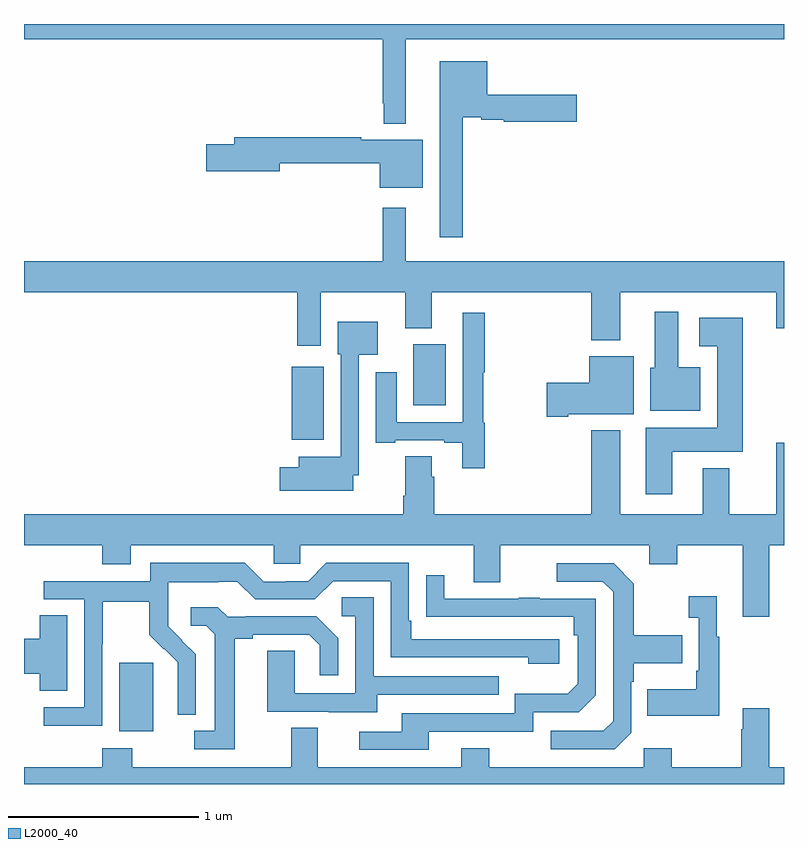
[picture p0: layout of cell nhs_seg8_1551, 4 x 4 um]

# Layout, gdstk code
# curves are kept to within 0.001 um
import gdstk
lib = gdstk.Library(unit=1e-6, precision=1e-09)
def R(c, l, rs):  # rectangles x0, y0, x1, y1
    for r in rs: c.add(gdstk.rectangle(r[:2], r[2:], *l))
def P(c, l, *ps):  # polygons
    for p in ps: c.add(gdstk.Polygon(p, *l))
L2000_40 = (2000, 40)

nhs_seg8_1551 = lib.new_cell('nhs_seg8_1551')
R(nhs_seg8_1551, L2000_40, [(209.501,1126.178,209.68,1126.539), (210.41,1127.711,210.577,1128.097), (211.049,1127.894,211.219,1128.214)])
P(nhs_seg8_1551, L2000_40, [(211.009,1129.82),(213,1129.82),(213,1129.9),(209,1129.9),(209,1129.82),(210.888,1129.82),(210.888,1129.483),(210.894,1129.483),(210.894,1129.376),(211.009,1129.376)],
  [(211.309,1129.409),(211.406,1129.409),(211.406,1129.397),(211.524,1129.397),(211.524,1129.385),(211.909,1129.385),(211.909,1129.527),(211.438,1129.527),(211.438,1129.705),(211.187,1129.705),(211.187,1128.777),(211.309,1128.777)],
  [(211.099,1129.291),(210.776,1129.291),(210.776,1129.304),(210.107,1129.304),(210.107,1129.268),(209.958,1129.268),(209.958,1129.126),(210.346,1129.126),(210.346,1129.168),(210.872,1129.168),(210.872,1129.037),(211.099,1129.037)],
  [(210.562,1128.488),(211.007,1128.488),(211.007,1128.299),(211.147,1128.299),(211.147,1128.488),(211.985,1128.488),(211.985,1128.236),(212.137,1128.236),(212.137,1128.488),(212.96,1128.488),(212.96,1128.3),(213,1128.3),(213,1128.652),(211.009,1128.652),(211.009,1128.934),(210.888,1128.934),(210.888,1128.652),(209,1128.652),(209,1128.488),(210.437,1128.488),(210.437,1128.207),(210.562,1128.207)],
  [(212.56,1128.094),(212.443,1128.094),(212.443,1128.385),(212.321,1128.385),(212.321,1128.09),(212.297,1128.09),(212.297,1127.864),(212.56,1127.864)],
  [(211.424,1127.802),(211.417,1127.802),(211.417,1128.066),(211.424,1128.066),(211.424,1128.379),(211.308,1128.379),(211.308,1127.805),(210.961,1127.805),(210.961,1128.067),(210.851,1128.067),(210.851,1127.697),(210.955,1127.697),(210.955,1127.709),(211.211,1127.709),(211.211,1127.697),(211.307,1127.697),(211.307,1127.562),(211.424,1127.562)],
  [(212.413,1127.648),(212.783,1127.648),(212.783,1128.355),(212.553,1128.355),(212.553,1128.203),(212.648,1128.203),(212.648,1127.776),(212.273,1127.776),(212.273,1127.424),(212.413,1127.424)],
  [(210.733,1127.525),(210.762,1127.525),(210.762,1128.158),(210.862,1128.158),(210.862,1128.334),(210.65,1128.334),(210.65,1128.162),(210.666,1128.162),(210.666,1127.623),(210.446,1127.623),(210.446,1127.566),(210.345,1127.566),(210.345,1127.444),(210.733,1127.444)],
  [(211.864,1127.846),(212.209,1127.846),(212.209,1128.151),(211.976,1128.151),(211.976,1128.012),(211.752,1128.012),(211.752,1127.834),(211.864,1127.834)],
  [(212.923,1127.156),(213,1127.156),(213,1127.695),(212.96,1127.695),(212.96,1127.32),(212.713,1127.32),(212.713,1127.563),(212.573,1127.563),(212.573,1127.32),(212.137,1127.32),(212.137,1127.761),(211.985,1127.761),(211.985,1127.32),(211.16,1127.32),(211.16,1127.516),(211.147,1127.516),(211.147,1127.624),(211.007,1127.624),(211.007,1127.416),(210.995,1127.416),(210.995,1127.32),(209,1127.32),(209,1127.156),(209.411,1127.156),(209.411,1127.057),(209.563,1127.057),(209.563,1127.156),(210.315,1127.156),(210.315,1127.058),(210.453,1127.058),(210.453,1127.156),(211.367,1127.156),(211.367,1126.962),(211.507,1126.962),(211.507,1127.156),(212.291,1127.156),(212.291,1127.057),(212.439,1127.057),(212.439,1127.156),(212.783,1127.156),(212.783,1126.779),(212.923,1126.779)],
  [(209.412,1126.636),(209.415,1126.636),(209.415,1126.86),(209.659,1126.86),(209.659,1126.685),(209.736,1126.608),(209.739,1126.611),(209.81,1126.541),(209.81,1126.418),(209.808,1126.418),(209.808,1126.264),(209.904,1126.264),(209.904,1126.582),(209.758,1126.73),(209.758,1126.827),(209.76,1126.827),(209.76,1126.961),(210.023,1126.961),(210.023,1126.965),(210.123,1126.965),(210.216,1126.872),(210.531,1126.872),(210.627,1126.968),(210.93,1126.968),(210.93,1126.566),(211.655,1126.566),(211.655,1126.532),(211.816,1126.532),(211.816,1126.662),(211.039,1126.662),(211.039,1126.759),(211.026,1126.759),(211.026,1127.064),(210.591,1127.064),(210.495,1126.968),(210.377,1126.968),(210.377,1126.965),(210.261,1126.965),(210.161,1127.065),(209.664,1127.065),(209.664,1126.968),(209.103,1126.968),(209.103,1126.872),(209.316,1126.872),(209.316,1126.305),(209.103,1126.305),(209.103,1126.207),(209.412,1126.207)],
  [(212.196,1126.17),(212.196,1126.439),(212.209,1126.439),(212.209,1126.535),(212.465,1126.535),(212.465,1126.683),(212.209,1126.683),(212.209,1126.955),(212.103,1127.061),(211.803,1127.061),(211.803,1126.965),(212.046,1126.965),(212.1,1126.911),(212.1,1126.23),(212.049,1126.179),(211.773,1126.179),(211.773,1126.083),(212.109,1126.083)],
  [(211.129,1126.176),(211.68,1126.176),(211.68,1126.278),(211.92,1126.278),(212.01,1126.368),(212.01,1126.875),(211.715,1126.875),(211.715,1126.88),(211.603,1126.88),(211.603,1126.875),(211.213,1126.875),(211.213,1126.999),(211.117,1126.999),(211.117,1126.78),(211.894,1126.779),(211.894,1126.682),(211.914,1126.682),(211.914,1126.428),(211.861,1126.375),(211.584,1126.375),(211.584,1126.272),(210.989,1126.272),(210.989,1126.176),(210.765,1126.176),(210.765,1126.08),(211.129,1126.08)],
  [(212.659,1126.675),(212.647,1126.675),(212.647,1126.888),(212.499,1126.888),(212.499,1126.775),(212.55,1126.775),(212.55,1126.495),(212.538,1126.495),(212.538,1126.399),(212.281,1126.399),(212.281,1126.259),(212.659,1126.259)],
  [(210.859,1126.371),(211.499,1126.371),(211.499,1126.467),(210.84,1126.467),(210.84,1126.883),(210.672,1126.883),(210.672,1126.782),(210.744,1126.782),(210.744,1126.377),(210.426,1126.377),(210.426,1126.601),(210.281,1126.601),(210.281,1126.281),(210.605,1126.281),(210.605,1126.277),(210.859,1126.277)],
  [(210.109,1126.664),(210.205,1126.664),(210.205,1126.686),(210.5,1126.686),(210.557,1126.629),(210.557,1126.473),(210.654,1126.473),(210.654,1126.666),(210.538,1126.782),(210.166,1126.782),(210.166,1126.779),(210.072,1126.779),(210.02,1126.831),(209.877,1126.831),(209.877,1126.734),(209.958,1126.734),(210.005,1126.687),(210.005,1126.179),(209.895,1126.179),(209.895,1126.083),(210.109,1126.083)],
  [(209.227,1126.787),(209.084,1126.787),(209.084,1126.664),(209,1126.664),(209,1126.481),(209.084,1126.481),(209.084,1126.39),(209.227,1126.39)],
  [(213,1125.988),(212.923,1125.988),(212.923,1126.3),(212.783,1126.3),(212.783,1126.187),(212.776,1126.187),(212.776,1125.988),(212.409,1125.988),(212.409,1126.087),(212.262,1126.087),(212.262,1125.988),(211.449,1125.988),(211.449,1126.087),(211.301,1126.087),(211.301,1125.988),(210.547,1125.988),(210.547,1126.196),(210.407,1126.196),(210.407,1125.988),(209.571,1125.988),(209.571,1126.087),(209.411,1126.087),(209.411,1125.988),(209,1125.988),(209,1125.9),(213,1125.9)])

lib.write_gds('nhs_seg8_1551.gds')
